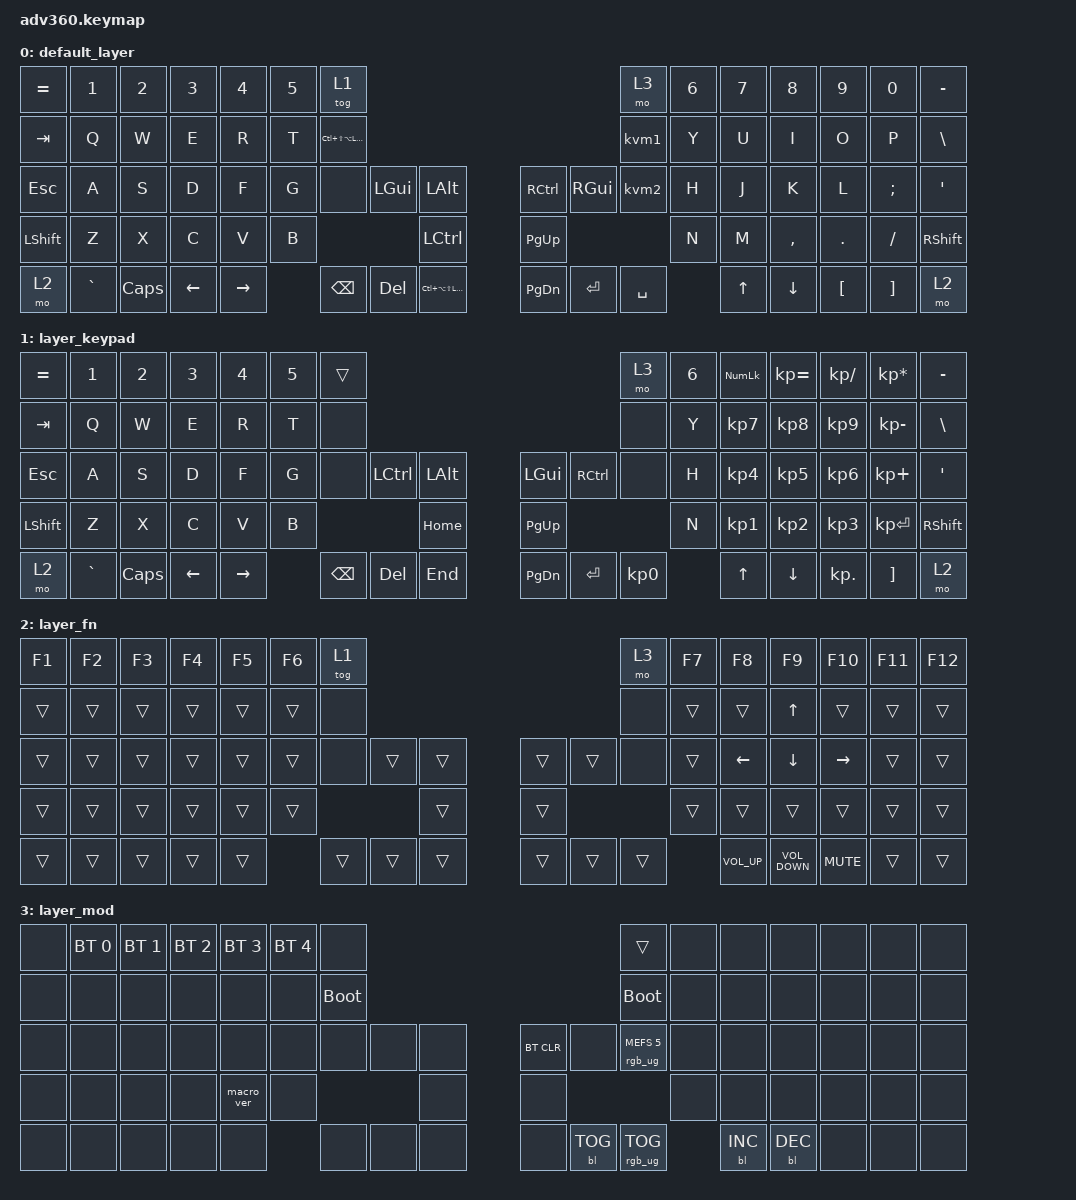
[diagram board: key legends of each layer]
/*
 * Copyright (c) 2020 The ZMK Contributors
 *
 * SPDX-License-Identifier: MIT
 */
/* THIS FILE WAS GENERATED!
 *
 * This file was generated automatically. You may or may not want to
 * edit it directly.
 */

#include <behaviors.dtsi>
#include <dt-bindings/zmk/backlight.h>
#include <dt-bindings/zmk/bt.h>
#include <dt-bindings/zmk/keys.h>
#include <dt-bindings/zmk/rgb.h>

/ {
    behaviors {
        #include "macros.dtsi"
    #include "version.dtsi"

        hmr: hmr {
            compatible = "zmk,behavior-hold-tap";
            label = "HMR";
            bindings = <&kp>, <&kp>;

            #binding-cells = <2>;
            tapping-term-ms = <280>;
            quick-tap-ms = <175>;
            flavor = "balanced";
            require-prior-idle-ms = <150>;
            hold-trigger-key-positions = <37 38 69 70 68 53 52 67 36 35 66 65 0 1 2 3 4 5 6 14 15 16 17 18 19 20 28 29 30 31 32 33 34 35 36 46 47 48 49 50 51 52 60 61 62 63 64 65 66>;
            hold-trigger-on-release;
        };

        hml: hml {
            compatible = "zmk,behavior-hold-tap";
            label = "HML";
            bindings = <&kp>, <&kp>;

            #binding-cells = <2>;
            hold-trigger-key-positions = <7 8 9 10 11 12 13 21 22 23 24 25 26 27 38 39 40 41 42 43 44 45 54 55 56 57 58 59 69 70 71 72 73 74 75 37 38 53 68 69>;
            hold-trigger-on-release;
            tapping-term-ms = <280>;
            quick-tap-ms = <175>;
            require-prior-idle-ms = <150>;
        };
    };

    macros {
        kvm1: kvm1 {
            compatible = "zmk,behavior-macro";
            #binding-cells = <0>;
            bindings = <&kp LS(LA(LC(LG(NUMBER_1)))) &bt BT_SEL 0>;
            label = "KVM1";
        };

        kvm2: kvm2 {
            compatible = "zmk,behavior-macro";
            #binding-cells = <0>;
            bindings = <&kp LS(LA(LC(LG(NUMBER_1)))) &bt BT_SEL 1>;
            label = "KVM2";
        };
    };

    keymap {
        compatible = "zmk,keymap";

        default_layer {
            bindings = <
&kp EQUAL  &kp N1     &kp N2    &kp N3    &kp N4     &kp N5  &tog 1                                                                          &mo 3      &kp N6  &kp N7  &kp N8     &kp N9    &kp N0         &kp MINUS
&kp TAB    &kp Q      &kp W     &kp E     &kp R      &kp T   &kp LC(LS(LA(LGUI)))                                                            &kvm1      &kp Y   &kp U   &kp I      &kp O     &kp P          &kp BSLH
&kp ESC    &kp A      &kp S     &kp D     &kp F      &kp G   &none                 &kp LGUI  &kp LALT                  &kp RCTRL  &kp RGUI   &kvm2      &kp H   &kp J   &kp K      &kp L     &kp SEMICOLON  &kp SQT
&kp LSHFT  &kp Z      &kp X     &kp C     &kp V      &kp B                                   &kp LCTRL                 &kp PG_UP                        &kp N   &kp M   &kp COMMA  &kp DOT   &kp FSLH       &kp RSHFT
&mo 2      &kp GRAVE  &kp CAPS  &kp LEFT  &kp RIGHT          &kp BSPC              &kp DEL   &kp LC(LA(LS(LGUI)))      &kp PG_DN  &kp ENTER  &kp SPACE          &kp UP  &kp DOWN   &kp LBKT  &kp RBKT       &mo 2
            >;
        };

        layer_keypad {
            bindings = <
&kp EQUAL  &kp N1     &kp N2    &kp N3    &kp N4     &kp N5  &trans                                                   &mo 3      &kp N6  &kp KP_NUM  &kp KP_EQUAL  &kp KP_DIVIDE  &kp KP_MULTIPLY  &kp MINUS
&kp TAB    &kp Q      &kp W     &kp E     &kp R      &kp T   &none                                                    &none      &kp Y   &kp KP_N7   &kp KP_N8     &kp KP_N9      &kp KP_MINUS     &kp BSLH
&kp ESC    &kp A      &kp S     &kp D     &kp F      &kp G   &none     &kp LCTRL  &kp LALT      &kp LGUI   &kp RCTRL  &none      &kp H   &kp KP_N4   &kp KP_N5     &kp KP_N6      &kp KP_PLUS      &kp SQT
&kp LSHFT  &kp Z      &kp X     &kp C     &kp V      &kp B                        &kp HOME      &kp PG_UP                        &kp N   &kp KP_N1   &kp KP_N2     &kp KP_N3      &kp KP_ENTER     &kp RSHFT
&mo 2      &kp GRAVE  &kp CAPS  &kp LEFT  &kp RIGHT          &kp BSPC  &kp DEL    &kp END       &kp PG_DN  &kp ENTER  &kp KP_N0          &kp UP      &kp DOWN      &kp KP_DOT     &kp RBKT         &mo 2
            >;
        };

        layer_fn {
            bindings = <
&kp F1  &kp F2  &kp F3  &kp F4  &kp F5  &kp F6  &tog 1                                      &mo 3   &kp F7  &kp F8           &kp F9             &kp F10     &kp F11  &kp F12
&trans  &trans  &trans  &trans  &trans  &trans  &none                                       &none   &trans  &trans           &kp UP_ARROW       &trans      &trans   &trans
&trans  &trans  &trans  &trans  &trans  &trans  &none   &trans  &trans      &trans  &trans  &none   &trans  &kp LEFT_ARROW   &kp DOWN_ARROW     &kp RIGHT   &trans   &trans
&trans  &trans  &trans  &trans  &trans  &trans                  &trans      &trans                  &trans  &trans           &trans             &trans      &trans   &trans
&trans  &trans  &trans  &trans  &trans          &trans  &trans  &trans      &trans  &trans  &trans          &kp C_VOLUME_UP  &kp C_VOLUME_DOWN  &kp C_MUTE  &trans   &trans
            >;
        };

        layer_mod {
            bindings = <
&none  &bt BT_SEL 0  &bt BT_SEL 1  &bt BT_SEL 2  &bt BT_SEL 3  &bt BT_SEL 4  &none                                                  &trans                  &none  &none       &none       &none  &none  &none
&none  &none         &none         &none         &none         &none         &bootloader                                            &bootloader             &none  &none       &none       &none  &none  &none
&none  &none         &none         &none         &none         &none         &none        &none  &none      &bt BT_CLR  &none       &rgb_ug RGB_MEFS_CMD 5  &none  &none       &none       &none  &none  &none
&none  &none         &none         &none         &macro_ver    &none                             &none      &none                                           &none  &none       &none       &none  &none  &none
&none  &none         &none         &none         &none                       &none        &none  &none      &none       &bl BL_TOG  &rgb_ug RGB_TOG                &bl BL_INC  &bl BL_DEC  &none  &none  &none
            >;
        };
    };
};
